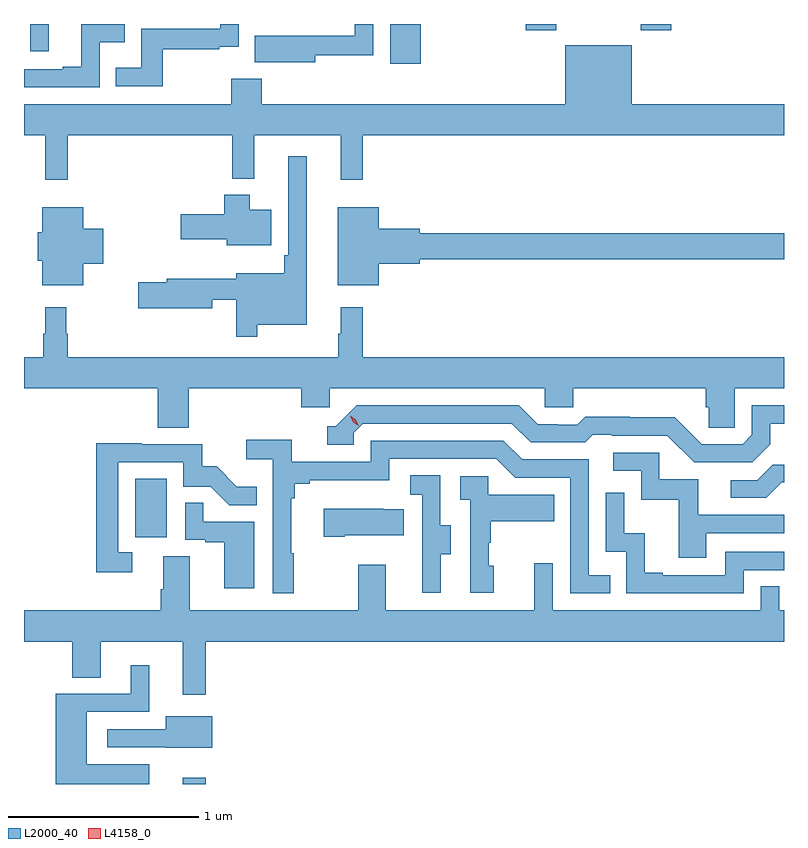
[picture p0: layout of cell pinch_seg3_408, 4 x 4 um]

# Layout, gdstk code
import gdstk
lib = gdstk.Library(unit=1e-6, precision=1e-09)
def R(c, l, rs):  # rectangles x0, y0, x1, y1
    for r in rs: c.add(gdstk.rectangle(r[:2], r[2:], *l))
def P(c, l, *ps):  # polygons
    for p in ps: c.add(gdstk.Polygon(p, *l))
L2000_40 = (2000, 40)
L4158_0 = (4158, 0)

pinch_seg3_408 = lib.new_cell('pinch_seg3_408')
R(pinch_seg3_408, L2000_40, [(913.043,698.834,913.165,698.866), (912.794,700.134,912.958,700.441), (914.135,702.624,914.296,702.834), (912.24,702.69,912.337,702.834), (914.849,702.801,915.009,702.834), (915.454,702.801,915.614,702.834)])
P(pinch_seg3_408, L2000_40, [(913.741,702.67),(914.046,702.67),(914.046,702.834),(913.95,702.834),(913.95,702.771),(913.637,702.771),(913.637,702.772),(913.423,702.772),(913.423,702.632),(913.741,702.632)],
  [(912.606,702.737),(912.738,702.737),(912.738,702.834),(912.509,702.834),(912.509,702.61),(912.413,702.61),(912.413,702.597),(912.208,702.597),(912.208,702.501),(912.606,702.501)],
  [(912.937,702.702),(913.235,702.702),(913.235,702.713),(913.338,702.713),(913.338,702.834),(913.242,702.834),(913.242,702.81),(912.826,702.81),(912.826,702.604),(912.691,702.604),(912.691,702.507),(912.937,702.507)],
  [(912.437,702.248),(913.303,702.248),(913.303,702.02),(913.421,702.02),(913.421,702.248),(913.874,702.248),(913.874,702.015),(913.991,702.015),(913.991,702.248),(916.208,702.248),(916.208,702.412),(915.406,702.412),(915.406,702.721),(915.056,702.721),(915.056,702.412),(913.46,702.412),(913.46,702.547),(913.3,702.547),(913.3,702.412),(912.208,702.412),(912.208,702.248),(912.32,702.248),(912.32,702.015),(912.437,702.015)],
  [(913.435,701.252),(913.696,701.252),(913.696,702.139),(913.599,702.139),(913.599,701.617),(913.579,701.617),(913.579,701.521),(913.325,701.521),(913.325,701.492),(912.959,701.492),(912.959,701.474),(912.81,701.474),(912.81,701.339),(913.198,701.339),(913.198,701.382),(913.326,701.382),(913.326,701.187),(913.435,701.187)],
  [(913.51,701.857),(913.396,701.857),(913.396,701.935),(913.262,701.935),(913.262,701.832),(913.032,701.832),(913.032,701.702),(913.274,701.702),(913.274,701.669),(913.51,701.669)],
  [(912.52,701.573),(912.625,701.573),(912.625,701.756),(912.52,701.756),(912.52,701.869),(912.305,701.869),(912.305,701.739),(912.281,701.739),(912.281,701.589),(912.305,701.589),(912.305,701.459),(912.52,701.459)],
  [(914.074,701.573),(914.29,701.573),(914.29,701.596),(916.208,701.596),(916.208,701.732),(914.29,701.732),(914.29,701.756),(914.074,701.756),(914.074,701.869),(913.859,701.869),(913.859,701.459),(914.074,701.459)],
  [(912.911,700.708),(913.076,700.708),(913.076,700.916),(913.667,700.916),(913.667,700.818),(913.818,700.818),(913.818,700.916),(914.949,700.916),(914.949,700.818),(915.099,700.818),(915.099,700.916),(915.797,700.916),(915.797,700.818),(915.811,700.818),(915.811,700.708),(915.948,700.708),(915.948,700.916),(916.208,700.916),(916.208,701.08),(913.991,701.08),(913.991,701.344),(913.874,701.344),(913.874,701.204),(913.863,701.204),(913.863,701.08),(912.437,701.08),(912.437,701.204),(912.43,701.204),(912.43,701.344),(912.32,701.344),(912.32,701.204),(912.309,701.204),(912.309,701.08),(912.208,701.08),(912.208,700.916),(912.911,700.916)],
  [(916.135,700.621),(916.135,700.731),(916.208,700.731),(916.208,700.827),(916.038,700.827),(916.038,700.671),(915.99,700.623),(915.774,700.623),(915.632,700.765),(915.396,700.765),(915.396,700.768),(915.163,700.768),(915.121,700.725),(915.018,700.725),(915.018,700.728),(914.911,700.728),(914.812,700.827),(913.959,700.827),(913.848,700.716),(913.805,700.716),(913.805,700.62),(913.944,700.62),(913.944,700.683),(913.992,700.731),(914.775,700.731),(914.874,700.632),(915.163,700.632),(915.202,700.671),(915.301,700.671),(915.301,700.668),(915.594,700.668),(915.735,700.527),(916.041,700.527)],
  [(913.627,700.049),(913.615,700.049),(913.615,700.337),(913.634,700.337),(913.634,700.414),(913.711,700.414),(913.711,700.433),(914.13,700.433),(914.13,700.545),(914.694,700.545),(914.793,700.446),(915.084,700.446),(915.084,699.837),(915.293,699.837),(915.293,699.933),(915.18,699.933),(915.18,700.542),(914.83,700.542),(914.731,700.641),(914.034,700.641),(914.034,700.53),(913.616,700.53),(913.616,700.646),(913.377,700.646),(913.377,700.544),(913.518,700.544),(913.518,699.837),(913.627,699.837)],
  [(912.778,700.053),(912.705,700.053),(912.705,700.527),(913.047,700.527),(913.047,700.398),(913.191,700.398),(913.289,700.3),(913.433,700.3),(913.433,700.399),(913.329,700.399),(913.222,700.506),(913.146,700.506),(913.146,700.623),(912.827,700.623),(912.827,700.628),(912.589,700.628),(912.589,699.948),(912.778,699.948)],
  [(915.799,700.155),(916.208,700.155),(916.208,700.251),(915.757,700.251),(915.757,700.437),(915.552,700.437),(915.552,700.578),(915.309,700.578),(915.309,700.482),(915.456,700.482),(915.456,700.329),(915.655,700.329),(915.655,700.026),(915.799,700.026)],
  [(916.195,700.422),(916.208,700.422),(916.208,700.514),(916.148,700.514),(916.068,700.434),(915.927,700.434),(915.927,700.341),(916.114,700.341)],
  [(914.401,700.042),(914.455,700.042),(914.455,700.197),(914.4,700.197),(914.4,700.46),(914.241,700.46),(914.241,700.357),(914.304,700.357),(914.304,700.053),(914.303,700.053),(914.303,699.84),(914.401,699.84)],
  [(914.68,699.984),(914.655,699.984),(914.655,700.103),(914.665,700.103),(914.665,700.217),(914.999,700.217),(914.999,700.357),(914.652,700.357),(914.652,700.455),(914.505,700.455),(914.505,700.331),(914.556,700.331),(914.556,699.84),(914.68,699.84)],
  [(915.996,699.96),(916.208,699.96),(916.208,700.056),(915.9,700.056),(915.9,699.933),(915.571,699.933),(915.571,699.946),(915.476,699.946),(915.476,700.154),(915.366,700.154),(915.366,700.366),(915.27,700.366),(915.27,700.056),(915.378,700.056),(915.378,699.837),(915.996,699.837)],
  [(913.42,700.215),(913.151,700.215),(913.151,700.313),(913.056,700.313),(913.056,700.119),(913.163,700.119),(913.163,700.107),(913.262,700.107),(913.262,699.864),(913.42,699.864)],
  [(913.897,700.142),(914.207,700.142),(914.207,700.279),(914.099,700.279),(914.099,700.282),(913.785,700.282),(913.785,700.135),(913.897,700.135)],
  [(913.165,699.584),(916.208,699.584),(916.208,699.748),(916.182,699.748),(916.182,699.875),(916.086,699.875),(916.086,699.748),(914.991,699.748),(914.991,699.997),(914.894,699.997),(914.894,699.748),(914.113,699.748),(914.113,699.988),(913.966,699.988),(913.966,699.748),(913.081,699.748),(913.081,700.034),(912.941,700.034),(912.941,699.86),(912.929,699.86),(912.929,699.748),(912.208,699.748),(912.208,699.584),(912.461,699.584),(912.461,699.394),(912.613,699.394),(912.613,699.584),(913.043,699.584),(913.043,699.303),(913.165,699.303)],
  [(912.868,698.938),(912.538,698.938),(912.538,699.213),(912.868,699.213),(912.868,699.46),(912.77,699.46),(912.77,699.309),(912.374,699.309),(912.374,698.834),(912.868,698.834)],
  [(913.198,699.19),(912.953,699.19),(912.953,699.123),(912.645,699.123),(912.645,699.027),(912.957,699.027),(912.957,699.026),(913.198,699.026)])
P(pinch_seg3_408, L4158_0, [(913.97,700.719),(913.94,700.739),(913.924,700.772),(913.924,700.772),(913.924,700.772),(913.955,700.752),(913.97,700.719),(913.97,700.719)])

lib.write_gds('pinch_seg3_408.gds')
